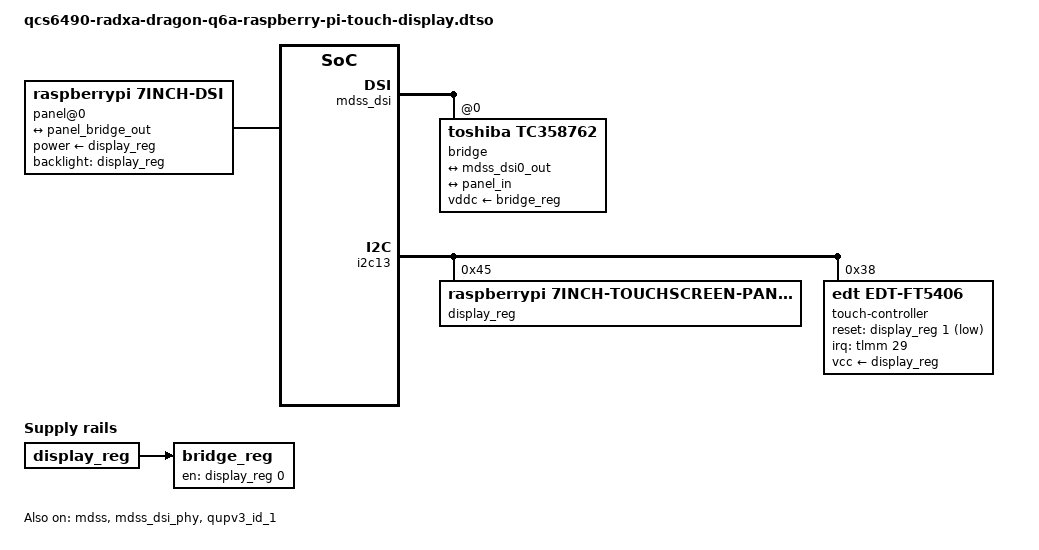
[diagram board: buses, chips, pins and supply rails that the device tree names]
// SPDX-License-Identifier: BSD-3-Clause
/*
 * Copyright (c) 2025 Radxa Computer (Shenzhen) Co., Ltd.
 */

/dts-v1/;
/plugin/;

#include <dt-bindings/gpio/gpio.h>
#include <dt-bindings/interrupt-controller/irq.h>
#include <dt-bindings/pinctrl/qcom,pmic-gpio.h>
#include <dt-bindings/pwm/pwm.h>

/ {
	metadata {
		title = "Enable Raspiberry Pi 7-inch Touchscreen";
		compatible = "radxa,dragon-q6a";
		category = "display";
		exclusive = "mdss_dsi";
		description = "Enable Raspiberry Pi 7-inch Touchscreen.";
	};
};

&{/} {
	bridge_reg: bridge-regulator {
		compatible = "regulator-fixed";
		regulator-name = "bridge-reg";
		gpio = <&display_reg 0 0>;
		vin-supply = <&display_reg>;
		enable-active-high;
	};

	panel@0 {
		compatible = "raspberrypi,7inch-dsi";
		backlight = <&display_reg>;
		power-supply = <&display_reg>;
		port {
			panel_in: endpoint {
				remote-endpoint = <&panel_bridge_out>;
			};
		};
	};
};

&mdss {
	status = "okay";
};

&mdss_dsi {
	vdda-supply = <&vreg_l6b_1p2>;
	#address-cells = <1>;
	#size-cells = <0>;

	status = "okay";

	bridge@0 {
		compatible = "toshiba,tc358762";
		reg = <0>;
		vddc-supply = <&bridge_reg>;
		ports {
			#address-cells = <1>;
			#size-cells = <0>;

			port@0 {
				reg = <0>;
				panel_in_dsi1: endpoint {
					remote-endpoint = <&mdss_dsi0_out>;
				};
			};

			port@1 {
				reg = <1>;
				panel_bridge_out: endpoint {
					remote-endpoint = <&panel_in>;
				};
			};
		};
	};
};

&mdss_dsi0_out {
	remote-endpoint = <&panel_in_dsi1>;
	data-lanes = <0>;
};

&mdss_dsi_phy {
	vdds-supply = <&vreg_l10c_0p88>;
	status = "okay";
};

&qupv3_id_1 {
	status = "okay";
};

&i2c13 {
	#address-cells = <1>;
	#size-cells = <0>;

	status = "okay";

	display_reg: regulator@45 {
		compatible = "raspberrypi,7inch-touchscreen-panel-regulator";
		reg = <0x45>;
		gpio-controller;
		#gpio-cells = <2>;
	};

	touch-controller@38 {
		compatible = "edt,edt-ft5406";
		reg = <0x38>;

		touchscreen-size-x = < 800 >;
		touchscreen-size-y = < 480 >;


		vcc-supply = <&display_reg>;
		reset-gpio = <&display_reg 1 1>;
		interrupt-parent = <&tlmm>;
		interrupts = <29 IRQ_TYPE_EDGE_FALLING>;

		touchscreen-inverted-x;
		touchscreen-inverted-y;
	};
};
